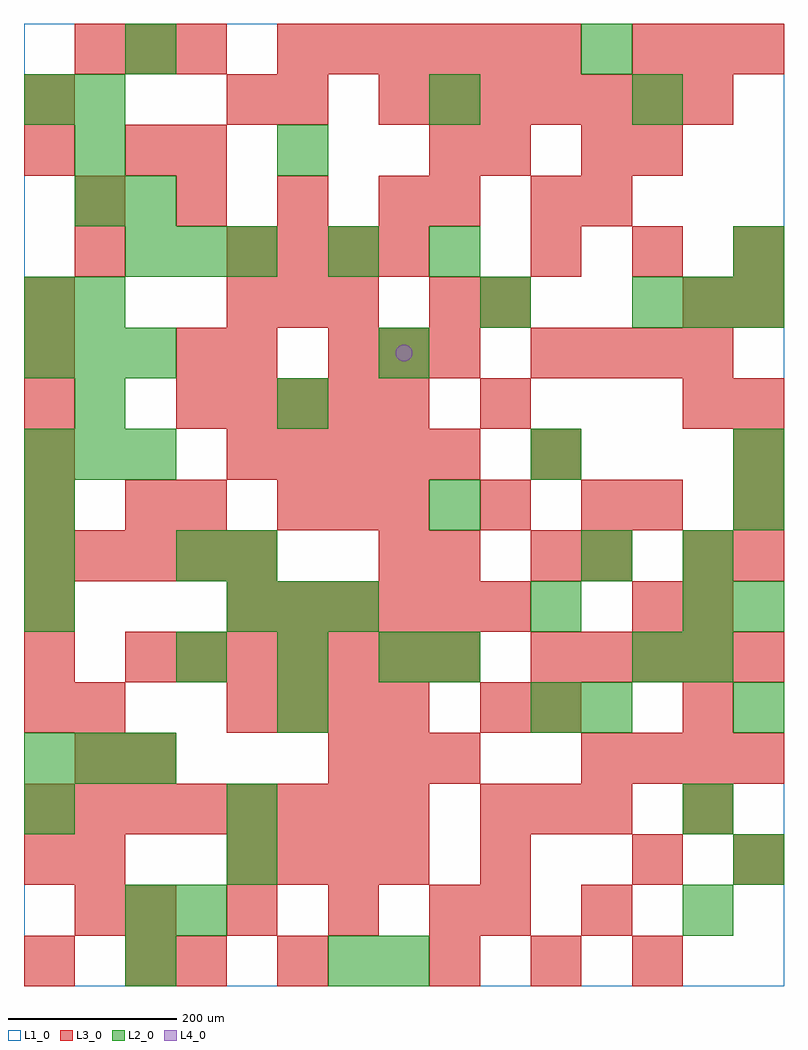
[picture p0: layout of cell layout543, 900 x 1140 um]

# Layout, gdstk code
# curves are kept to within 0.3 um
import gdstk
lib = gdstk.Library(unit=1e-6, precision=1e-09)
def R(c, l, rs):  # rectangles x0, y0, x1, y1
    for r in rs: c.add(gdstk.rectangle(r[:2], r[2:], *l))
def A(c, l, x, y, w, h, nx, ny, dx, dy):  # array of equal rectangles
    R(c, l, [(x+i*dx, y+j*dy, x+i*dx+w, y+j*dy+h) for i in range(nx) for j in range(ny)])
def P(c, l, *ps):  # polygons
    for p in ps: c.add(gdstk.Polygon(p, *l))
L1_0 = (1, 0)
L2_0 = (2, 0)
L3_0 = (3, 0)
L4_0 = (4, 0)

layout543 = lib.new_cell('layout543')
R(layout543, L1_0, [(0,0,900,1140)])
A(layout543, L2_0, 0, 240, 60, 60, 3, 2, 60, 360)
A(layout543, L2_0, 840, 300, 60, 60, 1, 3, 0, 120)
A(layout543, L2_0, 180, 360, 60, 60, 3, 1, 120, 0)
A(layout543, L2_0, 780, 360, 60, 60, 1, 3, 0, 60)
A(layout543, L2_0, 0, 420, 60, 60, 1, 3, 0, 60)
A(layout543, L2_0, 240, 420, 60, 60, 3, 1, 60, 0)
A(layout543, L2_0, 60, 660, 60, 60, 1, 3, 0, 120)
A(layout543, L2_0, 0, 720, 60, 60, 3, 1, 60, 0)
A(layout543, L2_0, 720, 780, 60, 60, 3, 1, 60, 0)
A(layout543, L2_0, 120, 840, 60, 60, 3, 1, 60, 0)
R(layout543, L2_0, [(120,0,180,60), (360,0,420,60), (420,0,480,60), (120,60,180,120), (180,60,240,120), (780,60,840,120), (240,120,300,180), (840,120,900,180), (0,180,60,240), (240,180,300,240), (780,180,840,240), (300,300,360,360), (600,300,660,360), (660,300,720,360), (480,360,540,420), (720,360,780,420), (600,420,660,480), (180,480,240,540), (240,480,300,540), (660,480,720,540), (480,540,540,600), (600,600,660,660), (840,600,900,660), (300,660,360,720), (420,720,480,780), (0,780,60,840), (540,780,600,840), (360,840,420,900), (480,840,540,900), (840,840,900,900), (120,900,180,960), (60,960,120,1020), (300,960,360,1020), (0,1020,60,1080), (60,1020,120,1080), (480,1020,540,1080), (720,1020,780,1080), (120,1080,180,1140), (660,1080,720,1140)])
A(layout543, L3_0, 480, 0, 60, 60, 3, 1, 120, 0)
A(layout543, L3_0, 120, 60, 60, 60, 4, 1, 120, 0)
A(layout543, L3_0, 240, 120, 60, 60, 4, 2, 60, 180)
A(layout543, L3_0, 0, 180, 60, 60, 8, 1, 60, 0)
A(layout543, L3_0, 540, 180, 60, 60, 3, 1, 60, 0)
A(layout543, L3_0, 780, 180, 60, 60, 1, 3, 0, 120)
A(layout543, L3_0, 360, 240, 60, 60, 3, 2, 60, 480)
A(layout543, L3_0, 660, 240, 60, 60, 4, 1, 60, 0)
A(layout543, L3_0, 0, 300, 60, 60, 1, 3, 0, 60)
A(layout543, L3_0, 120, 360, 60, 60, 7, 1, 60, 0)
A(layout543, L3_0, 600, 360, 60, 60, 5, 1, 60, 0)
A(layout543, L3_0, 240, 420, 60, 60, 6, 1, 60, 0)
A(layout543, L3_0, 0, 480, 60, 60, 5, 1, 60, 0)
A(layout543, L3_0, 840, 480, 60, 60, 1, 4, 0, 60)
A(layout543, L3_0, 0, 540, 60, 60, 1, 5, 0, 60)
A(layout543, L3_0, 300, 540, 60, 60, 3, 1, 60, 0)
A(layout543, L3_0, 540, 540, 60, 60, 1, 3, 0, 120)
A(layout543, L3_0, 240, 600, 60, 60, 5, 1, 60, 0)
A(layout543, L3_0, 180, 660, 60, 60, 5, 1, 60, 0)
A(layout543, L3_0, 600, 720, 60, 60, 4, 1, 60, 0)
A(layout543, L3_0, 240, 780, 60, 60, 3, 1, 60, 0)
A(layout543, L3_0, 240, 840, 60, 60, 4, 1, 60, 0)
A(layout543, L3_0, 600, 840, 60, 60, 3, 1, 120, 0)
A(layout543, L3_0, 60, 900, 60, 60, 4, 1, 120, 0)
A(layout543, L3_0, 420, 1020, 60, 60, 7, 1, 60, 0)
A(layout543, L3_0, 60, 1080, 60, 60, 3, 1, 60, 0)
A(layout543, L3_0, 300, 1080, 60, 60, 6, 1, 60, 0)
A(layout543, L3_0, 720, 1080, 60, 60, 3, 1, 60, 0)
R(layout543, L3_0, [(0,0,60,60), (120,0,180,60), (180,0,240,60), (300,0,360,60), (60,60,120,120), (540,60,600,120), (660,60,720,120), (0,120,60,180), (60,120,120,180), (540,120,600,180), (720,120,780,180), (840,120,900,180), (60,240,120,300), (120,240,180,300), (60,300,120,360), (540,300,600,360), (600,300,660,360), (720,420,780,480), (420,480,480,540), (480,480,540,540), (600,480,660,540), (660,480,720,540), (780,480,840,540), (120,540,180,600), (180,540,240,600), (660,540,720,600), (720,540,780,600), (600,600,660,660), (780,660,840,720), (180,720,240,780), (240,720,300,780), (480,780,540,840), (780,780,840,840), (840,780,900,840), (60,840,120,900), (480,900,540,960), (600,900,660,960), (660,900,720,960), (0,960,60,1020), (120,960,180,1020), (180,960,240,1020), (480,960,540,1020), (540,960,600,1020), (660,960,720,1020), (720,960,780,1020), (0,1020,60,1080), (240,1020,300,1080), (300,1020,360,1080)])
P(layout543, L4_0, [(460,750),(459.239,753.827),(457.071,757.071),(453.827,759.239),(450,760),(446.173,759.239),(442.929,757.071),(440.761,753.827),(440,750),(440.761,746.173),(442.929,742.929),(446.173,740.761),(450,740),(453.827,740.761),(457.071,742.929),(459.239,746.173)])

lib.write_gds('layout543.gds')
